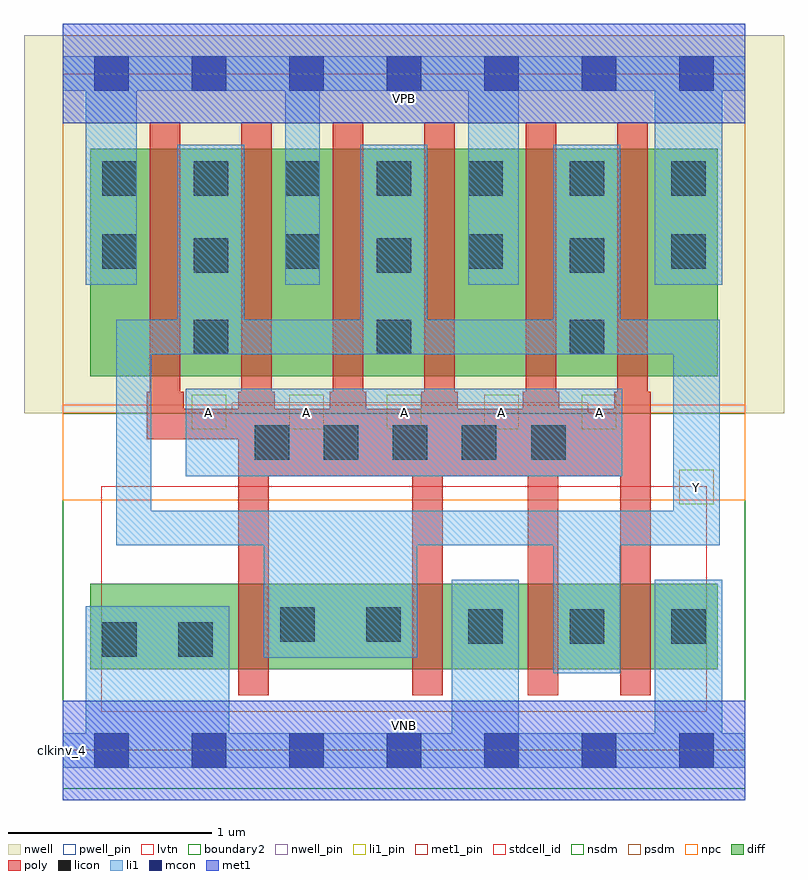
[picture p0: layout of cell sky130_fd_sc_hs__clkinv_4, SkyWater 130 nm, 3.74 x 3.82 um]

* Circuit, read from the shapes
.subckt sky130_fd_sc_hs__clkinv_4 A VGND VNB VPB VPWR Y
XM1 Y A VGND VNB sky130_fd_pr__nfet_01v8_lvt w=0.42 l=0.15 m=4
XM2 Y A VPWR VPB sky130_fd_pr__pfet_01v8 w=1.12 l=0.15 m=6
.ends

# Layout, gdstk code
import gdstk
lib = gdstk.Library(unit=1e-6, precision=1e-09)
def R(c, l, rs):  # rectangles x0, y0, x1, y1
    for r in rs: c.add(gdstk.rectangle(r[:2], r[2:], *l))
def A(c, l, x, y, w, h, nx, ny, dx, dy):  # array of equal rectangles
    R(c, l, [(x+i*dx, y+j*dy, x+i*dx+w, y+j*dy+h) for i in range(nx) for j in range(ny)])
def P(c, l, *ps):  # polygons
    for p in ps: c.add(gdstk.Polygon(p, *l))
nwell_pin = (64, 16)
nwell = (64, 20)
diff = (65, 20)
poly = (66, 20)
licon = (66, 44)
li1_pin = (67, 16)
li1 = (67, 20)
mcon = (67, 44)
met1_pin = (68, 16)
met1 = (68, 20)
stdcell_id = (81, 4)
nsdm = (93, 44)
psdm = (94, 20)
npc = (95, 20)
pwell_pin = (122, 16)
lvtn = (125, 44)
boundary2 = (236, 0)

sky130_fd_sc_hs__clkinv_ = lib.new_cell('sky130_fd_sc_hs__clkinv_4')
R(sky130_fd_sc_hs__clkinv_, nwell_pin, [(0,3.085,3.36,3.33)])
R(sky130_fd_sc_hs__clkinv_, nwell, [(-0.19,1.66,3.55,3.52)])
R(sky130_fd_sc_hs__clkinv_, diff, [(0.135,0.4,3.225,0.82), (0.135,1.84,3.225,2.96)])
P(sky130_fd_sc_hs__clkinv_, poly, [(2.895,1.765),(2.88,1.765),(2.88,3.09),(2.73,3.09),(2.73,1.765),(2.715,1.765),(2.715,1.68),(2.445,1.68),(2.445,1.765),(2.43,1.765),(2.43,3.09),(2.28,3.09),(2.28,1.765),(2.265,1.765),(2.265,1.68),(1.945,1.68),(1.945,1.765),(1.93,1.765),(1.93,3.09),(1.78,3.09),(1.78,1.765),(1.765,1.765),(1.765,1.68),(1.495,1.68),(1.495,1.765),(1.48,1.765),(1.48,3.09),(1.33,3.09),(1.33,1.765),(1.315,1.765),(1.315,1.68),(1.045,1.68),(1.045,1.765),(1.03,1.765),(1.03,3.09),(0.88,3.09),(0.88,1.765),(0.865,1.765),(0.865,1.68),(0.595,1.68),(0.595,1.765),(0.58,1.765),(0.58,3.09),(0.43,3.09),(0.43,1.765),(0.415,1.765),(0.415,1.53),(0.865,1.53),(0.865,0.27),(1.015,0.27),(1.015,1.35),(1.72,1.35),(1.72,0.27),(1.87,0.27),(1.87,1.35),(2.29,1.35),(2.29,0.27),(2.44,0.27),(2.44,1.35),(2.745,1.35),(2.745,0.27),(2.895,0.27)])
A(sky130_fd_sc_hs__clkinv_, licon, 1.995, 0.525, 0.17, 0.17, 3, 1, 0.5, 0)
A(sky130_fd_sc_hs__clkinv_, licon, 0.945, 1.43, 0.17, 0.17, 5, 1, 0.34, 0)
A(sky130_fd_sc_hs__clkinv_, licon, 0.195, 2.37, 0.17, 0.17, 3, 1, 0.9, 0)
A(sky130_fd_sc_hs__clkinv_, licon, 0.195, 2.73, 0.17, 0.17, 5, 1, 0.45, 0)
R(sky130_fd_sc_hs__clkinv_, licon, [(0.195,0.46,0.365,0.63), (0.57,0.46,0.74,0.63), (1.07,0.535,1.24,0.705), (1.495,0.535,1.665,0.705), (0.645,1.95,0.815,2.12), (1.545,1.95,1.715,2.12), (2.495,1.95,2.665,2.12), (0.645,2.35,0.815,2.52), (1.545,2.35,1.715,2.52), (2.495,2.35,2.665,2.52), (2.995,2.37,3.165,2.54), (2.495,2.73,2.665,2.9), (2.995,2.73,3.165,2.9)])
A(sky130_fd_sc_hs__clkinv_, li1_pin, 0.635, 1.58, 0.17, 0.17, 5, 1, 0.48, 0)
R(sky130_fd_sc_hs__clkinv_, li1_pin, [(3.035,1.21,3.205,1.38)])
R(sky130_fd_sc_hs__clkinv_, li1, [(0.605,1.35,2.755,1.78)])
P(sky130_fd_sc_hs__clkinv_, li1, [(0,-0.085),(0,0.085),(0.115,0.085),(0.115,0.71),(0.82,0.71),(0.82,0.085),(1.915,0.085),(1.915,0.84),(2.245,0.84),(2.245,0.085),(2.915,0.085),(2.915,0.84),(3.245,0.84),(3.245,0.085),(3.36,0.085),(3.36,-0.085)],
  [(0,3.245),(0,3.415),(3.36,3.415),(3.36,3.245),(3.245,3.245),(3.245,2.29),(2.915,2.29),(2.915,3.245),(2.245,3.245),(2.245,2.29),(1.995,2.29),(1.995,3.245),(1.265,3.245),(1.265,2.29),(1.095,2.29),(1.095,3.245),(0.365,3.245),(0.365,2.29),(0.115,2.29),(0.115,3.245)],
  [(0.435,1.01),(0.265,1.01),(0.265,2.12),(0.565,2.12),(0.565,2.98),(0.895,2.98),(0.895,2.12),(1.465,2.12),(1.465,2.98),(1.795,2.98),(1.795,2.12),(2.415,2.12),(2.415,2.98),(2.745,2.98),(2.745,2.12),(3.235,2.12),(3.235,1.01),(2.745,1.01),(2.745,0.38),(2.415,0.38),(2.415,1.01),(1.745,1.01),(1.745,0.455),(0.99,0.455),(0.99,1.01),(0.435,1.01),(0.435,1.18),(3.005,1.18),(3.005,1.95),(0.435,1.95)])
A(sky130_fd_sc_hs__clkinv_, mcon, 0.155, -0.085, 0.17, 0.17, 7, 2, 0.48, 3.33)
R(sky130_fd_sc_hs__clkinv_, met1_pin, [(0,0,3.36,0.245), (0,3.085,3.36,3.33)])
R(sky130_fd_sc_hs__clkinv_, met1, [(0,-0.245,3.36,0.245), (0,3.085,3.36,3.575)])
R(sky130_fd_sc_hs__clkinv_, stdcell_id, [(0,0,3.36,3.33)])
R(sky130_fd_sc_hs__clkinv_, nsdm, [(0,-0.19,3.36,1.66)])
P(sky130_fd_sc_hs__clkinv_, psdm, [(3.36,3.52),(0,3.52),(0,1.66),(0.835,1.66),(0.835,1.71),(2.585,1.71),(2.585,1.66),(3.36,1.66)])
R(sky130_fd_sc_hs__clkinv_, npc, [(0,1.23,3.36,1.7)])
R(sky130_fd_sc_hs__clkinv_, pwell_pin, [(0,0,3.36,0.245)])
R(sky130_fd_sc_hs__clkinv_, lvtn, [(0.19,0.19,3.17,1.3)])
R(sky130_fd_sc_hs__clkinv_, boundary2, [(0,0,3.36,3.33)])
sky130_fd_sc_hs__clkinv_.add(gdstk.Label('clkinv_4', (0,0), layer=83, texttype=44))
sky130_fd_sc_hs__clkinv_.add(gdstk.Label('VNB', (1.68,0.123), layer=64, texttype=59))
sky130_fd_sc_hs__clkinv_.add(gdstk.Label('VPB', (1.68,3.208), layer=64, texttype=5))
sky130_fd_sc_hs__clkinv_.add(gdstk.Label('VPWR', (1.68,3.208), layer=68, texttype=5))
sky130_fd_sc_hs__clkinv_.add(gdstk.Label('VGND', (1.68,0.123), layer=68, texttype=5))
sky130_fd_sc_hs__clkinv_.add(gdstk.Label('Y', (3.12,1.295), layer=67, texttype=5))
sky130_fd_sc_hs__clkinv_.add(gdstk.Label('A', (0.72,1.665), layer=67, texttype=5))
sky130_fd_sc_hs__clkinv_.add(gdstk.Label('A', (1.2,1.665), layer=67, texttype=5))
sky130_fd_sc_hs__clkinv_.add(gdstk.Label('A', (1.68,1.665), layer=67, texttype=5))
sky130_fd_sc_hs__clkinv_.add(gdstk.Label('A', (2.16,1.665), layer=67, texttype=5))
sky130_fd_sc_hs__clkinv_.add(gdstk.Label('A', (2.64,1.665), layer=67, texttype=5))

lib.write_gds('sky130_fd_sc_hs__clkinv_4.gds')
